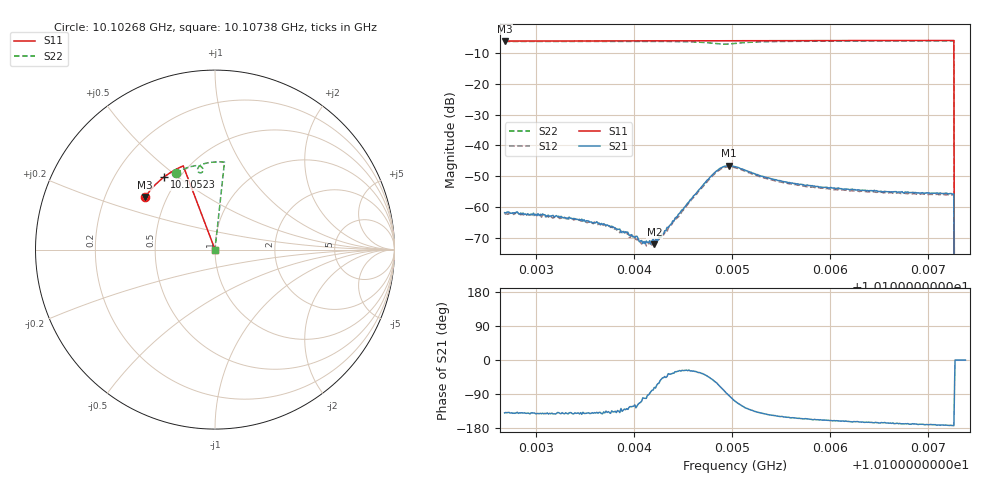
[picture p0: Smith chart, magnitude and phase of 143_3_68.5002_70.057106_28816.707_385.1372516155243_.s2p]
#  HZ  S  RI  R  50.00
! Rohde & Schwarz Vector Network Analyzer
! Rohde-Schwarz,ZNB20-2Port,1311601062101988,3.16
! Created: UTC 3/20/2024, 5:10:07 PM
! freq[Hz]  re:S11  im:S11  re:S21  im:S21  re:S12  im:S12  re:S22  im:S22
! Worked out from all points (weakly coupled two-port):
!   401 points, 10.10268 GHz to 10.10738 GHz, reference 50 ohm
!   highest |S21| = -46.56 dB at 10.10497 GHz (marker M1); lowest = -72.0 dB at 10.10421 GHz (marker M2)
!   lowest |S11| = -6.3 dB at 10.10268 GHz (marker M3), VSWR 2.90, Z = 18.9 + j14.5 ohm
!   |S11| at or under -10 dB: 10.10727 GHz to end of sweep
!   |S22| runs from - to -6.2 dB; largest |S21 - S12| = 0.00048
!   S11 on the Smith chart (normalised r, x): 10.10268 GHz: 0.38, +0.29; 10.10523 GHz: 0.42, +0.45; 10.10738 GHz: 1.00, +0.00
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1.0102679e10  -0.3891 0.2928  -0.000622 -0.000529  -0.000558 -0.000562  -0.2186 0.4266
1.0103067e10  -0.3755 0.3121  -0.000602 -0.000498  -0.000539 -0.000523  -0.1959 0.4385
1.0103467e10  -0.3604 0.331  -0.000514 -0.000385  -0.000436 -0.000409  -0.1712 0.4497
1.0103773e10  -0.3482 0.345  -0.000344 -0.000354  -0.000322 -0.000352  -0.1515 0.4572
1.0103914e10  -0.3423 0.3513  -0.000263 -0.000302  -0.000216 -0.000321  -0.1418 0.4604
1.010402e10  -0.3379 0.356  -0.000201 -0.000274  -0.000127 -0.000273  -0.1345 0.4625
1.010409e10  -0.3348 0.3591  -4.37e-05 -0.000257  -6.58e-05 -0.000262  -0.1292 0.4639
1.0104149e10  -0.3323 0.3617  -8.21e-06 -0.000271  1.29e-05 -0.00026  -0.1248 0.4649
1.0104208e10  -0.3299 0.3642  7.62e-05 -0.00024  0.000105 -0.000251  -0.1201 0.4659
1.0104255e10  -0.3278 0.3662  0.000159 -0.000289  0.000165 -0.00025  -0.1164 0.4665
1.0104314e10  -0.3252 0.3686  0.000301 -0.000287  0.000298 -0.000246  -0.1117 0.4672
1.0104796e10  -0.3035 0.3881  0.00208 -0.00255  0.00221 -0.00223  -0.0663 0.4454
1.010489e10  -0.2991 0.3917  0.00127 -0.00414  0.00161 -0.00388  -0.0727 0.4303
1.0104972e10  -0.2954 0.3947  -0.000385 -0.00468  4.57e-05 -0.00447  -0.0876 0.4289
1.0105031e10  -0.2926 0.3971  -0.00145 -0.0043  -0.00102 -0.00424  -0.0951 0.4359
1.0105231e10  -0.2833 0.4046  -0.00249 -0.00244  -0.00215 -0.00257  -0.0904 0.4614
1.0105549e10  -0.2677 0.4161  -0.00224 -0.00125  -0.00204 -0.00141  -0.065 0.4769
1.0105819e10  -0.2542 0.4253  -0.00207 -0.000863  -0.00187 -0.00101  -0.0447 0.4825
1.0106607e10  -0.2129 0.4494  -0.00174 -0.000408  -0.00163 -0.000555  0.00958 0.4884
1.0107242e10  -0.1782 0.4657  -0.00165 -0.00021  -0.00154 -0.000347  0.0512 0.4876
1.0107301e10  0 0  0 0  0 0  0 0
1.0107384e10  0 0  0 0  0 0  0 0
